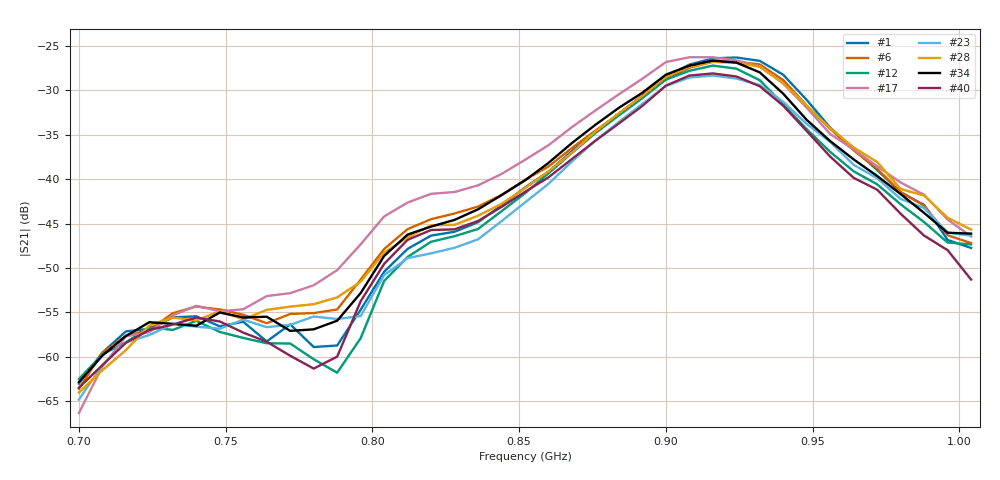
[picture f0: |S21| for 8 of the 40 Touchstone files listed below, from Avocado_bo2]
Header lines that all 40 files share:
# Hz S RI R 50
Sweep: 700 MHz to 1.004 GHz
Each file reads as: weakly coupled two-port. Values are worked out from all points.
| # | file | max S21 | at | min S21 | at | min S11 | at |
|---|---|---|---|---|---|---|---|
| 1 | bo1.s2p | -26.28 dB | 924 MHz | -63.1 dB | 700 MHz | -16.3 dB | 924 MHz |
| 2 | bo2.s2p | -26.06 dB | 916 MHz | -63.3 dB | 700 MHz | -22.4 dB | 924 MHz |
| 3 | bo3.s2p | -26.73 dB | 916 MHz | -64.3 dB | 700 MHz | -22.1 dB | 924 MHz |
| 4 | bo4.s2p | -26.32 dB | 916 MHz | -64.0 dB | 700 MHz | -19.6 dB | 924 MHz |
| 5 | bo5.s2p | -26.45 dB | 916 MHz | -64.9 dB | 700 MHz | -17.4 dB | 932 MHz |
| 6 | bo6.s2p | -26.76 dB | 924 MHz | -63.6 dB | 700 MHz | -18.4 dB | 932 MHz |
| 7 | bo7.s2p | -26.49 dB | 924 MHz | -62.7 dB | 788 MHz | -17.1 dB | 924 MHz |
| 8 | bo8.s2p | -27.37 dB | 924 MHz | -63.5 dB | 700 MHz | -12.3 dB | 924 MHz |
| 9 | bo9.s2p | -26.07 dB | 916 MHz | -63.1 dB | 700 MHz | -12.8 dB | 908 MHz |
| 10 | bo10.s2p | -26.51 dB | 916 MHz | -63.7 dB | 700 MHz | -14.9 dB | 916 MHz |
| 11 | bo11.s2p | -28.31 dB | 916 MHz | -66.8 dB | 788 MHz | -12.8 dB | 908 MHz |
| 12 | bo12.s2p | -27.19 dB | 916 MHz | -62.5 dB | 700 MHz | -15.4 dB | 924 MHz |
| 13 | bo13.s2p | -27.63 dB | 916 MHz | -62.9 dB | 788 MHz | -15.1 dB | 924 MHz |
| 14 | bo14.s2p | -26.80 dB | 916 MHz | -63.7 dB | 700 MHz | -15.3 dB | 916 MHz |
| 15 | bo15.s2p | -26.91 dB | 916 MHz | -64.8 dB | 700 MHz | -14.6 dB | 916 MHz |
| 16 | bo16.s2p | -26.33 dB | 916 MHz | -63.6 dB | 700 MHz | -17.3 dB | 916 MHz |
| 17 | bo17.s2p | -26.25 dB | 908 MHz | -66.4 dB | 700 MHz | -18.4 dB | 924 MHz |
| 18 | bo18.s2p | -26.48 dB | 916 MHz | -64.9 dB | 700 MHz | -17.6 dB | 932 MHz |
| 19 | bo19.s2p | -28.52 dB | 916 MHz | -66.6 dB | 788 MHz | -22.5 dB | 924 MHz |
| 20 | bo20.s2p | -25.94 dB | 916 MHz | -64.7 dB | 700 MHz | -13.4 dB | 916 MHz |
| 21 | bo21.s2p | -27.49 dB | 916 MHz | -66.9 dB | 700 MHz | -23.3 dB | 924 MHz |
| 22 | bo22.s2p | -27.74 dB | 916 MHz | -65.0 dB | 700 MHz | -22.1 dB | 924 MHz |
| 23 | bo23.s2p | -28.31 dB | 916 MHz | -64.9 dB | 700 MHz | -20.0 dB | 924 MHz |
| 24 | bo24.s2p | -29.45 dB | 916 MHz | -70.4 dB | 788 MHz | -23.1 dB | 924 MHz |
| 25 | bo25.s2p | -30.46 dB | 916 MHz | -69.9 dB | 788 MHz | -20.9 dB | 916 MHz |
| 26 | bo26.s2p | -30.67 dB | 916 MHz | -72.3 dB | 788 MHz | -34.1 dB | 924 MHz |
| 27 | bo27.s2p | -31.20 dB | 924 MHz | -73.8 dB | 780 MHz | -31.5 dB | 924 MHz |
| 28 | bo28.s2p | -26.77 dB | 916 MHz | -64.1 dB | 700 MHz | -14.1 dB | 924 MHz |
| 29 | bo29.s2p | -26.40 dB | 916 MHz | -65.7 dB | 700 MHz | -15.1 dB | 924 MHz |
| 30 | bo30.s2p | -26.35 dB | 916 MHz | -67.1 dB | 700 MHz | -14.6 dB | 916 MHz |
| 31 | bo31.s2p | -26.25 dB | 924 MHz | -63.0 dB | 700 MHz | -14.8 dB | 924 MHz |
| 32 | bo32.s2p | -26.39 dB | 916 MHz | -63.2 dB | 700 MHz | -15.1 dB | 916 MHz |
| 33 | bo33.s2p | -26.29 dB | 916 MHz | -63.3 dB | 700 MHz | -15.8 dB | 924 MHz |
| 34 | bo34.s2p | -26.63 dB | 916 MHz | -62.9 dB | 700 MHz | -14.8 dB | 916 MHz |
| 35 | bo35.s2p | -26.55 dB | 916 MHz | -65.0 dB | 700 MHz | -19.3 dB | 924 MHz |
| 36 | bo36.s2p | -27.28 dB | 916 MHz | -63.9 dB | 700 MHz | -25.4 dB | 924 MHz |
| 37 | bo37.s2p | -26.61 dB | 916 MHz | -64.9 dB | 700 MHz | -26.1 dB | 924 MHz |
| 38 | bo38.s2p | -27.09 dB | 916 MHz | -62.6 dB | 700 MHz | -23.0 dB | 924 MHz |
| 39 | bo39.s2p | -27.18 dB | 916 MHz | -65.1 dB | 700 MHz | -26.6 dB | 924 MHz |
| 40 | bo40.s2p | -28.08 dB | 916 MHz | -63.5 dB | 700 MHz | -25.4 dB | 924 MHz |
